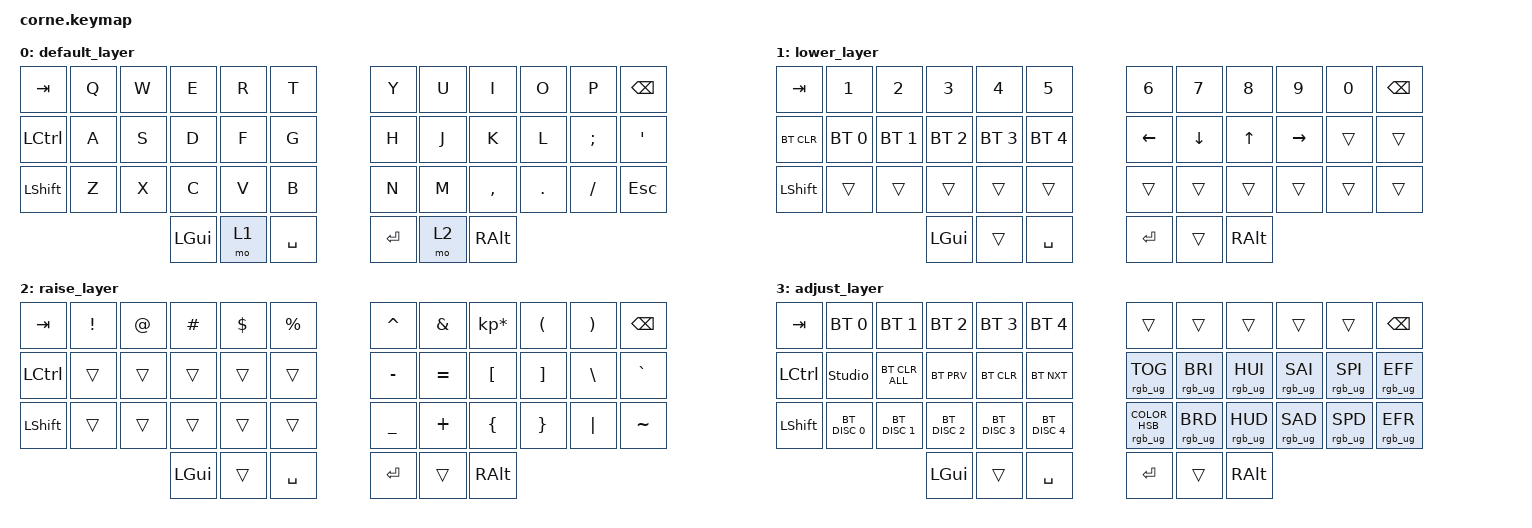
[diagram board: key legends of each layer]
/*
 * Copyright (c) 2020 The ZMK Contributors
 *
 * SPDX-License-Identifier: MIT
 */

#include <behaviors.dtsi>
#include <dt-bindings/zmk/keys.h>
#include <dt-bindings/zmk/bt.h>
#include <dt-bindings/zmk/rgb.h>

/ {
        conditional_layers {
                compatible = "zmk,conditional-layers";
                tri_layer {
                    if-layers = <1 2>;
                    then-layer = <3>;
                };
        };

        keymap {
                compatible = "zmk,keymap";

                default_layer {
// -----------------------------------------------------------------------------------------
// |  TAB |  Q  |  W  |  E  |  R  |  T  |   |  Y  |  U   |  I  |  O  |  P  | BKSP |
// | CTRL |  A  |  S  |  D  |  F  |  G  |   |  H  |  J   |  K  |  L  |  ;  |  '   |
// | SHFT |  Z  |  X  |  C  |  V  |  B  |   |  N  |  M   |  ,  |  .  |  /  | ESC  |
//                    | GUI | LWR | SPC |   | ENT | RSE  | ALT |
                        bindings = <
   &kp TAB   &kp Q &kp W &kp E &kp R &kp T   &kp Y &kp U  &kp I     &kp O   &kp P    &kp BSPC
   &kp LCTRL &kp A &kp S &kp D &kp F &kp G   &kp H &kp J  &kp K     &kp L   &kp SEMI &kp SQT
   &kp LSHFT &kp Z &kp X &kp C &kp V &kp B   &kp N &kp M  &kp COMMA &kp DOT &kp FSLH &kp ESC
                  &kp LGUI &mo 1 &kp SPACE   &kp RET &mo 2 &kp RALT
                        >;
                };
                lower_layer {
// -----------------------------------------------------------------------------------------
// |  TAB |  1  |  2  |  3  |  4  |  5  |   |  6  |  7  |  8  |  9  |  0  | BKSP |
// | BTCLR| BT1 | BT2 | BT3 | BT4 | BT5 |   | LFT | DWN |  UP | RGT |     |      |
// | SHFT |     |     |     |     |     |   |     |     |     |     |     |      |
//                    | GUI |     | SPC |   | ENT |     | ALT |
                        bindings = <
   &kp TAB    &kp N1       &kp N2       &kp N3       &kp N4       &kp N5         &kp N6   &kp N7   &kp N8 &kp N9    &kp N0 &kp BSPC
   &bt BT_CLR &bt BT_SEL 0 &bt BT_SEL 1 &bt BT_SEL 2 &bt BT_SEL 3 &bt BT_SEL 4   &kp LEFT &kp DOWN &kp UP &kp RIGHT &trans &trans
   &kp LSHFT  &trans       &trans       &trans       &trans       &trans         &trans   &trans   &trans &trans    &trans &trans
                                    &kp LGUI     &trans       &kp SPACE      &kp RET  &trans   &kp RALT
                        >;
                };

                raise_layer {
// -----------------------------------------------------------------------------------------
// |  TAB |  !  |  @  |  #  |  $  |  %  |   |  ^  |  &  |  *  |  (  |  )  | BKSP |
// | CTRL |     |     |     |     |     |   |  -  |  =  |  [  |  ]  |  \  |  `   |
// | SHFT |     |     |     |     |     |   |  _  |  +  |  {  |  }  | "|" |  ~   |
//                    | GUI |     | SPC |   | ENT |     | ALT |
                        bindings = <
   &kp  TAB  &kp EXCL &kp AT &kp HASH &kp DLLR &kp PRCNT   &kp CARET &kp AMPS  &kp KP_MULTIPLY &kp LPAR &kp RPAR &kp BSPC
   &kp LCTRL &trans   &trans &trans   &trans   &trans      &kp MINUS &kp EQUAL &kp LBKT        &kp RBKT &kp BSLH &kp GRAVE
   &kp LSHFT &trans   &trans &trans   &trans   &trans      &kp UNDER &kp PLUS  &kp LBRC        &kp RBRC &kp PIPE &kp TILDE
                             &kp LGUI &trans   &kp SPACE   &kp RET   &trans    &kp RALT
                        >;
                };

                adjust_layer {
// -----------------------------------------------------------------------------------------
// |  TAB |   SEL 0  |   SEL 1  |   SEL 2  |   SEL 3  |   SEL 4  |           |          |        |        |        |         |  BKSP  |
// | CTRL |          |  CLR_ALL |  BT_PRV  |  BT_CLR  |  BT_NXT  |           | RGB_TOG  |  BR+   |  HUE+  |  SAT+  |  SPD+   |  EFF+  |
// | SHFT |  DISC 0  |  DISC 1  |  DISC 2  |  DISC 3  |  DISC 4  |           |  ORANGE  |  BR-   |  HUE-  |  SAT-  |  SPD-   |  EFF-  |
//                                             | GUI |     | SPC |           | ENT |     | ALT |
                        bindings = <
   &kp  TAB  &bt BT_SEL 0    &bt BT_SEL 1    &bt BT_SEL 2    &bt BT_SEL 3      &bt BT_SEL 4      &trans                              &trans             &trans            &trans            &trans            &kp BSPC
   &kp LCTRL &studio_unlock  &bt BT_CLR_ALL  &bt BT_PRV      &bt BT_CLR        &bt BT_NXT        &rgb_ug RGB_TOG                     &rgb_ug RGB_BRI    &rgb_ug RGB_HUI   &rgb_ug RGB_SAI   &rgb_ug RGB_SPI   &rgb_ug RGB_EFF
   &kp LSHFT &bt BT_DISC 0   &bt BT_DISC 1   &bt BT_DISC 2   &bt BT_DISC 3     &bt BT_DISC 4     &rgb_ug RGB_COLOR_HSB(42, 100, 100) &rgb_ug RGB_BRD    &rgb_ug RGB_HUD   &rgb_ug RGB_SAD   &rgb_ug RGB_SPD   &rgb_ug RGB_EFR
                                             &kp LGUI   &trans   &kp SPACE                         &kp RET   &trans   &kp RALT
                        >;
                };
        };
};
